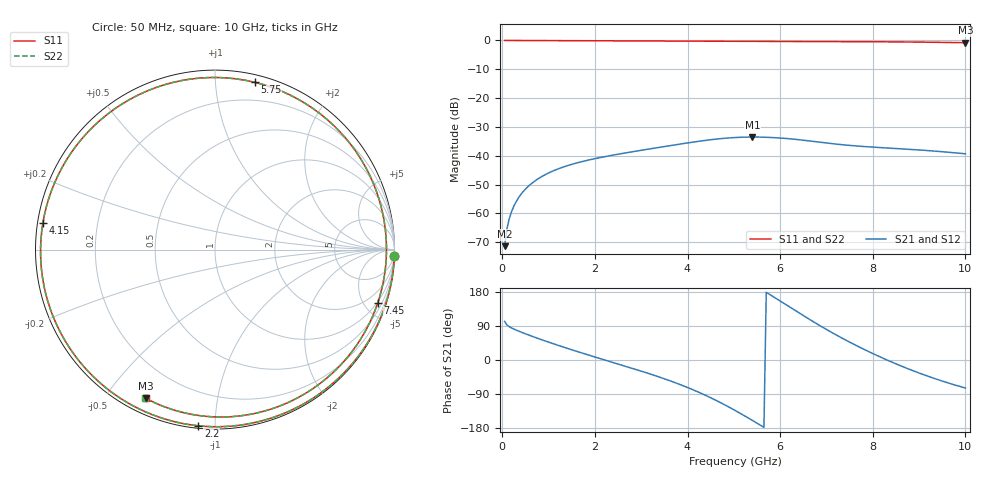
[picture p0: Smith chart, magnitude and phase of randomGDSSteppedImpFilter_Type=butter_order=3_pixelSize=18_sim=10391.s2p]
! freq	dB(S11)	phase(S11)	dB(S12)	phase(S12)
!  dB(S21)	phase(S21)	dB(S22)	phase(S22)
!S-par simulation data
#  GHz  S  DB  R 50
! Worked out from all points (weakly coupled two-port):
!   200 points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, 50 MHz to 10 GHz, reference 50 ohm
!   highest |S21| = -33.51 dB at 5.4 GHz (marker M1); lowest = -71.4 dB at 50 MHz (marker M2)
!   lowest |S11| = -0.8 dB at 10 GHz (marker M3), VSWR 22.29, Z = 3.15 - j31.8 ohm
!   |S11| at or under -10 dB: nowhere
!   |S22| runs from -0.8 to 0.0 dB; largest |S21 - S12| = 0
!   S11 on the Smith chart (normalised r, x): 50 MHz: 0, -53; 2.2 GHz: 0.01, -0.91; 4.15 GHz: 0.02, +0.08; 5.75 GHz: 0.06, +1.26; 7.45 GHz: 0.92, -6.11; 10 GHz: 0.06, -0.64
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0.05  -0.00 -2.2  -71.38 101.9  -71.38 101.9  -0.00 -2.2
0.1  -0.00 -4.4  -65.39 92.6  -65.39 92.6  -0.00 -4.4
0.2  -0.00 -8.7  -59.40 84.6  -59.40 84.6  -0.00 -8.7
0.5  -0.02 -21.8  -51.58 69.1  -51.58 69.1  -0.02 -21.8
1  -0.05 -43.4  -45.98 47.1  -45.98 47.1  -0.05 -43.4
1.75  -0.10 -75.8  -41.92 17.3  -41.92 17.3  -0.10 -75.8
2.2  -0.12 -95.4  -40.36 0.6  -40.36 0.6  -0.12 -95.5
2.8  -0.16 -122.3  -38.64 -21.7  -38.64 -21.7  -0.16 -122.3
3.4  -0.20 -150.5  -37.07 -45.3  -37.07 -45.3  -0.20 -150.6
3.8  -0.23 -170.4  -36.05 -63.0  -36.05 -63.0  -0.23 -170.5
4.15  -0.26 171.2  -35.20 -80.2  -35.20 -80.2  -0.26 171.1
4.6  -0.30 146.2  -34.26 -105.6  -34.26 -105.6  -0.30 146.0
5.05  -0.33 119.6  -33.66 -134.7  -33.66 -134.7  -0.33 119.5
5.4  -0.36 98.2  -33.51 -159.3  -33.51 -159.3  -0.36 98.1
5.75  -0.37 76.6  -33.63 174.8  -33.63 174.8  -0.37 76.4
6.25  -0.38 46.2  -34.19 136.5  -34.19 136.5  -0.38 46.0
6.7  -0.39 20.3  -34.99 102.2  -34.99 102.2  -0.39 20.1
7.05  -0.39 1.6  -35.67 77.1  -35.67 77.1  -0.39 1.4
7.45  -0.41 -18.2  -36.34 50.3  -36.34 50.3  -0.41 -18.4
8.35  -0.48 -56.8  -37.34 -2.3  -37.34 -2.3  -0.48 -57.0
9.15  -0.59 -86.2  -38.16 -41.1  -38.16 -41.1  -0.59 -86.4
10  -0.78 -114.9  -39.33 -73.9  -39.33 -73.9  -0.78 -115.2
